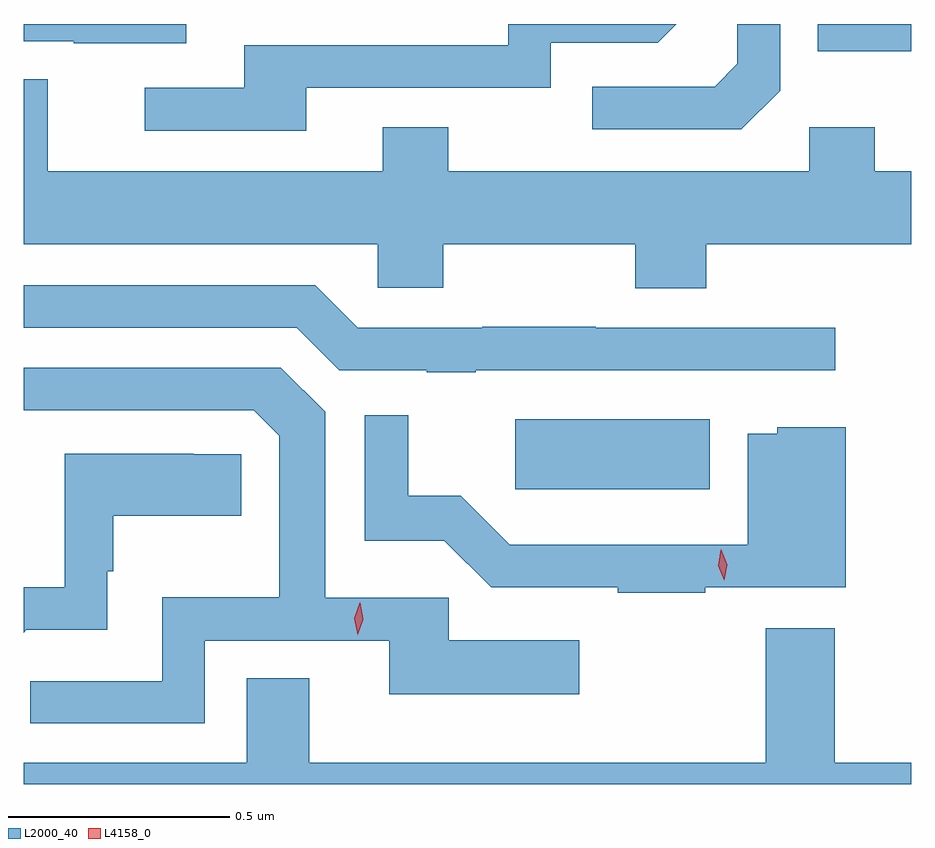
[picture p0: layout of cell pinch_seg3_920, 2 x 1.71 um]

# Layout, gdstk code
import gdstk
lib = gdstk.Library(unit=1e-6, precision=1e-09)
def R(c, l, rs):  # rectangles x0, y0, x1, y1
    for r in rs: c.add(gdstk.rectangle(r[:2], r[2:], *l))
def P(c, l, *ps):  # polygons
    for p in ps: c.add(gdstk.Polygon(p, *l))
L2000_40 = (2000, 40)
L4158_0 = (4158, 0)

pinch_seg3_920 = lib.new_cell('pinch_seg3_920')
R(pinch_seg3_920, L2000_40, [(779.697,667.064,780.136,667.222), (780.379,668.051,780.59,668.112)])
P(pinch_seg3_920, L2000_40, [(779.227,667.968),(779.778,667.968),(779.778,668.07),(780.018,668.07),(780.06,668.112),(779.682,668.112),(779.682,668.064),(779.087,668.064),(779.087,667.968),(778.863,667.968),(778.863,667.872),(779.227,667.872)],
  [(780.294,667.962),(780.294,668.112),(780.198,668.112),(780.198,668.022),(780.147,667.971),(779.871,667.971),(779.871,667.875),(780.207,667.875)],
  [(778.957,668.112),(778.59,668.112),(778.59,668.073),(778.703,668.073),(778.703,668.069),(778.957,668.069)],
  [(780.128,667.616),(780.59,667.616),(780.59,667.78),(780.507,667.78),(780.507,667.879),(780.36,667.879),(780.36,667.78),(779.547,667.78),(779.547,667.879),(779.399,667.879),(779.399,667.78),(778.645,667.78),(778.645,667.988),(778.59,667.988),(778.59,667.616),(779.388,667.616),(779.388,667.518),(779.535,667.518),(779.535,667.616),(779.968,667.616),(779.968,667.517),(780.128,667.517)],
  [(779.609,667.332),(780.418,667.332),(780.418,667.428),(779.879,667.428),(779.879,667.43),(779.623,667.43),(779.623,667.428),(779.343,667.428),(779.247,667.524),(778.59,667.524),(778.59,667.428),(779.205,667.428),(779.301,667.332),(779.498,667.332),(779.498,667.327),(779.609,667.327)],
  [(778.998,666.723),(779.414,666.723),(779.414,666.602),(779.842,666.602),(779.842,666.724),(779.548,666.724),(779.548,666.819),(779.269,666.819),(779.269,667.238),(779.169,667.338),(778.59,667.338),(778.59,667.242),(779.109,667.242),(779.166,667.185),(779.166,666.821),(778.902,666.821),(778.902,666.632),(778.605,666.632),(778.605,666.537),(778.998,666.537)],
  [(780.125,666.843),(780.442,666.843),(780.442,667.204),(780.288,667.204),(780.288,667.189),(780.221,667.189),(780.221,666.939),(779.685,666.939),(779.575,667.049),(779.457,667.049),(779.457,667.231),(779.358,667.231),(779.358,666.948),(779.538,666.948),(779.643,666.843),(779.929,666.843),(779.929,666.831),(780.125,666.831)],
  [(778.596,666.747),(778.779,666.747),(778.779,666.879),(778.792,666.879),(778.792,667.004),(779.08,667.004),(779.08,667.143),(778.973,667.143),(778.973,667.144),(778.683,667.144),(778.683,666.843),(778.59,666.843),(778.59,666.741)],
  [(780.59,666.448),(780.417,666.448),(780.417,666.751),(780.262,666.751),(780.262,666.448),(779.233,666.448),(779.233,666.638),(779.093,666.638),(779.093,666.448),(778.59,666.448),(778.59,666.4),(780.59,666.4)])
P(pinch_seg3_920, L4158_0, [(779.343,666.736),(779.343,666.736),(779.335,666.773),(779.347,666.808),(779.347,666.808),(779.348,666.808),(779.355,666.771),(779.343,666.736)],
  [(780.168,666.859),(780.168,666.859),(780.155,666.892),(780.161,666.928),(780.162,666.928),(780.162,666.928),(780.175,666.894),(780.168,666.859)])

lib.write_gds('pinch_seg3_920.gds')
